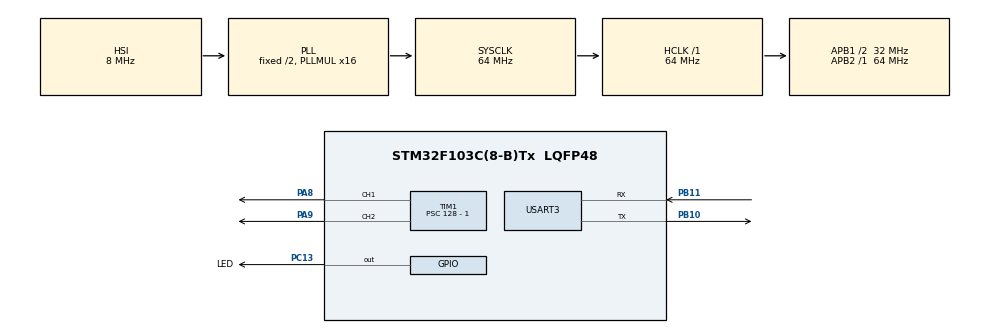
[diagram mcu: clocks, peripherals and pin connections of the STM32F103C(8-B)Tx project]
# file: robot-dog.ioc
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FREERTOS.Tasks01=defaultTask,24,128,StartDefaultTask,Default,NULL,Dynamic,NULL,NULL;myTask02,8,128,StartTask02,Default,NULL,Dynamic,NULL,NULL
Mcu.Family=STM32F1
Mcu.Name=STM32F103C(8-B)Tx
Mcu.Package=LQFP48
NVIC.PriorityGroup=NVIC_PRIORITYGROUP_4
NVIC.TIM1_UP_IRQn=true\:5\:0\:false\:false\:true\:true\:true\:true\:true
NVIC.TIM4_IRQn=true\:15\:0\:false\:false\:true\:false\:false\:true\:true
NVIC.TimeBase=TIM4_IRQn
NVIC.TimeBaseIP=TIM4
NVIC.USART3_IRQn=true\:5\:0\:false\:false\:true\:true\:true\:true\:true
PA13.Mode=Serial_Wire
PA13.Signal=SYS_JTMS-SWDIO
PA14.Mode=Serial_Wire
PA14.Signal=SYS_JTCK-SWCLK
PA8.Signal=S_TIM1_CH1
PA9.Signal=S_TIM1_CH2
PB10.Mode=Asynchronous
PB10.Signal=USART3_TX
PB11.Mode=Asynchronous
PB11.Signal=USART3_RX
PC13-TAMPER-RTC.GPIO_Label=LED
PC13-TAMPER-RTC.PinState=GPIO_PIN_SET
PC13-TAMPER-RTC.Signal=GPIO_Output
ProjectManager.HeapSize=0x200
ProjectManager.StackSize=0x400
ProjectManager.TargetToolchain=STM32CubeIDE
RCC.AHBFreq_Value=64000000
RCC.APB1CLKDivider=RCC_HCLK_DIV2
RCC.APB1Freq_Value=32000000
RCC.APB1TimFreq_Value=64000000
RCC.APB2Freq_Value=64000000
RCC.APB2TimFreq_Value=64000000
RCC.HCLKFreq_Value=64000000
RCC.PLLMUL=RCC_PLL_MUL16
RCC.SYSCLKFreq_VALUE=64000000
RCC.SYSCLKSource=RCC_SYSCLKSOURCE_PLLCLK
RCC.USBFreq_Value=64000000
SH.S_TIM1_CH1.0=TIM1_CH1,PWM Generation1 CH1
SH.S_TIM1_CH2.0=TIM1_CH2,PWM Generation2 CH2
TIM1.Channel-PWM\ Generation1\ CH1=TIM_CHANNEL_1
TIM1.Channel-PWM\ Generation2\ CH2=TIM_CHANNEL_2
TIM1.OCMode_PWM-PWM\ Generation2\ CH2=TIM_OCMODE_PWM1
TIM1.Period=10000 - 1
TIM1.Prescaler=128 - 1
TIM1.Pulse-PWM\ Generation1\ CH1=243
TIM1.Pulse-PWM\ Generation2\ CH2=1000
USART3.VirtualMode=VM_ASYNC
VP_FREERTOS_VS_CMSIS_V2.Mode=CMSIS_V2
VP_SYS_VS_tim4.Mode=TIM4
VP_TIM1_VS_ClockSourceINT.Mode=Internal
board=custom

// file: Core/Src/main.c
/* USER CODE BEGIN Header */
/**
  ******************************************************************************
  * @file           : main.c
  * @brief          : Main program body
  ******************************************************************************
  * @attention
  *
  * Copyright (c) 2025 STMicroelectronics.
  * All rights reserved.
  *
  * This software is licensed under terms that can be found in the LICENSE file
  * in the root directory of this software component.
  * If no LICENSE file comes with this software, it is provided AS-IS.
  *
  ******************************************************************************
  */
/* USER CODE END Header */
#include "main.h"
#include "cmsis_os.h"

/* USER CODE BEGIN Includes */
#include "joint.h"
#include "uart.h"
/* USER CODE END Includes */

TIM_HandleTypeDef htim1;

UART_HandleTypeDef huart3;

/* Definitions for defaultTask */
osThreadId_t defaultTaskHandle;
const osThreadAttr_t defaultTask_attributes = {
  .name = "defaultTask",
  .stack_size = 128 * 4,
  .priority = (osPriority_t) osPriorityNormal,
};
/* Definitions for myTask02 */
osThreadId_t myTask02Handle;
const osThreadAttr_t myTask02_attributes = {
  .name = "myTask02",
  .stack_size = 128 * 4,
  .priority = (osPriority_t) osPriorityLow,
};
/* USER CODE BEGIN PV */

static Uart* uart;

/* USER CODE END PV */

void SystemClock_Config(void);
static void MX_GPIO_Init(void);
static void MX_TIM1_Init(void);
static void MX_USART3_UART_Init(void);
void StartDefaultTask(void *argument);
void StartTask02(void *argument);

int main(void)
{

  /* MCU Configuration--------------------------------------------------------*/

  /* Reset of all peripherals, Initializes the Flash interface and the Systick. */
  HAL_Init();

  /* USER CODE BEGIN Init */

  uart = new_Uart(&huart3);

  /* USER CODE END Init */

  /* Configure the system clock */
  SystemClock_Config();

  /* Initialize all configured peripherals */
  MX_GPIO_Init();
  MX_TIM1_Init();
  MX_USART3_UART_Init();
  /* USER CODE BEGIN 2 */
  HAL_TIM_PWM_Start(&htim1, TIM_CHANNEL_1);
  HAL_TIM_PWM_Start(&htim1, TIM_CHANNEL_2);
  uart->receive(uart);
  /* USER CODE END 2 */

  /* Init scheduler */
  osKernelInitialize();

  /* Create the thread(s) */
  /* creation of defaultTask */
  defaultTaskHandle = osThreadNew(StartDefaultTask, NULL, &defaultTask_attributes);

  /* creation of myTask02 */
  myTask02Handle = osThreadNew(StartTask02, NULL, &myTask02_attributes);

  /* Start scheduler */
  osKernelStart();

  /* We should never get here as control is now taken by the scheduler */

  /* Infinite loop */
  /* USER CODE BEGIN WHILE */

#define TIMEOUT 1000

  while (1)
  {
//	  joint_1->set_angle(joint_1, 0);
//	  HAL_Delay(TIMEOUT);
//	  joint_1->set_angle(joint_1, 20);
//	  HAL_Delay(TIMEOUT);
//
//
//	  joint_2->set_angle2(joint_2, 0);
//	  HAL_Delay(TIMEOUT);
//	  joint_2->set_angle2(joint_2, 20);
//	  HAL_Delay(TIMEOUT);
//	  joint->set_angle(joint, 90);
//	  HAL_Delay(1000);
//	  joint->set_angle(joint, 135);
//	  HAL_Delay(1000);
//	  joint->set_angle(joint, 180);
//	  HAL_Delay(1000);
//
//	  uart->transmit(uart);
//	  HAL_Delay(1000);

    /* USER CODE END WHILE */

  }
}

void SystemClock_Config(void)
{
  RCC_OscInitTypeDef RCC_OscInitStruct = {0};
  RCC_ClkInitTypeDef RCC_ClkInitStruct = {0};

  /** Initializes the RCC Oscillators according to the specified parameters
  * in the RCC_OscInitTypeDef structure.
  */
  RCC_OscInitStruct.OscillatorType = RCC_OSCILLATORTYPE_HSI;
  RCC_OscInitStruct.HSIState = RCC_HSI_ON;
  RCC_OscInitStruct.HSICalibrationValue = RCC_HSICALIBRATION_DEFAULT;
  RCC_OscInitStruct.PLL.PLLState = RCC_PLL_ON;
  RCC_OscInitStruct.PLL.PLLSource = RCC_PLLSOURCE_HSI_DIV2;
  RCC_OscInitStruct.PLL.PLLMUL = RCC_PLL_MUL16;
  if (HAL_RCC_OscConfig(&RCC_OscInitStruct) != HAL_OK)
  {
    Error_Handler();
  }

  /** Initializes the CPU, AHB and APB buses clocks
  */
  RCC_ClkInitStruct.ClockType = RCC_CLOCKTYPE_HCLK|RCC_CLOCKTYPE_SYSCLK
                              |RCC_CLOCKTYPE_PCLK1|RCC_CLOCKTYPE_PCLK2;
  RCC_ClkInitStruct.SYSCLKSource = RCC_SYSCLKSOURCE_PLLCLK;
  RCC_ClkInitStruct.AHBCLKDivider = RCC_SYSCLK_DIV1;
  RCC_ClkInitStruct.APB1CLKDivider = RCC_HCLK_DIV2;
  RCC_ClkInitStruct.APB2CLKDivider = RCC_HCLK_DIV1;

  if (HAL_RCC_ClockConfig(&RCC_ClkInitStruct, FLASH_LATENCY_2) != HAL_OK)
  {
    Error_Handler();
  }
}

static void MX_TIM1_Init(void)
{

  TIM_ClockConfigTypeDef sClockSourceConfig = {0};
  TIM_MasterConfigTypeDef sMasterConfig = {0};
  TIM_OC_InitTypeDef sConfigOC = {0};
  TIM_BreakDeadTimeConfigTypeDef sBreakDeadTimeConfig = {0};

  htim1.Instance = TIM1;
  htim1.Init.Prescaler = 128 - 1;
  htim1.Init.CounterMode = TIM_COUNTERMODE_UP;
  htim1.Init.Period = 10000 - 1;
  htim1.Init.ClockDivision = TIM_CLOCKDIVISION_DIV1;
  htim1.Init.RepetitionCounter = 0;
  htim1.Init.AutoReloadPreload = TIM_AUTORELOAD_PRELOAD_DISABLE;
  if (HAL_TIM_Base_Init(&htim1) != HAL_OK)
  {
    Error_Handler();
  }
  sClockSourceConfig.ClockSource = TIM_CLOCKSOURCE_INTERNAL;
  if (HAL_TIM_ConfigClockSource(&htim1, &sClockSourceConfig) != HAL_OK)
  {
    Error_Handler();
  }
  if (HAL_TIM_PWM_Init(&htim1) != HAL_OK)
  {
    Error_Handler();
  }
  sMasterConfig.MasterOutputTrigger = TIM_TRGO_RESET;
  sMasterConfig.MasterSlaveMode = TIM_MASTERSLAVEMODE_DISABLE;
  if (HAL_TIMEx_MasterConfigSynchronization(&htim1, &sMasterConfig) != HAL_OK)
  {
    Error_Handler();
  }
  sConfigOC.OCMode = TIM_OCMODE_PWM1;
  sConfigOC.Pulse = 243;
  sConfigOC.OCPolarity = TIM_OCPOLARITY_HIGH;
  sConfigOC.OCNPolarity = TIM_OCNPOLARITY_HIGH;
  sConfigOC.OCFastMode = TIM_OCFAST_DISABLE;
  sConfigOC.OCIdleState = TIM_OCIDLESTATE_RESET;
  sConfigOC.OCNIdleState = TIM_OCNIDLESTATE_RESET;
  if (HAL_TIM_PWM_ConfigChannel(&htim1, &sConfigOC, TIM_CHANNEL_1) != HAL_OK)
  {
    Error_Handler();
  }
  sConfigOC.Pulse = 1000;
  if (HAL_TIM_PWM_ConfigChannel(&htim1, &sConfigOC, TIM_CHANNEL_2) != HAL_OK)
  {
    Error_Handler();
  }
  sBreakDeadTimeConfig.OffStateRunMode = TIM_OSSR_DISABLE;
  sBreakDeadTimeConfig.OffStateIDLEMode = TIM_OSSI_DISABLE;
  sBreakDeadTimeConfig.LockLevel = TIM_LOCKLEVEL_OFF;
  sBreakDeadTimeConfig.DeadTime = 0;
  sBreakDeadTimeConfig.BreakState = TIM_BREAK_DISABLE;
  sBreakDeadTimeConfig.BreakPolarity = TIM_BREAKPOLARITY_HIGH;
  sBreakDeadTimeConfig.AutomaticOutput = TIM_AUTOMATICOUTPUT_DISABLE;
  if (HAL_TIMEx_ConfigBreakDeadTime(&htim1, &sBreakDeadTimeConfig) != HAL_OK)
  {
    Error_Handler();
  }
  HAL_TIM_MspPostInit(&htim1);

}

static void MX_USART3_UART_Init(void)
{

  huart3.Instance = USART3;
  huart3.Init.BaudRate = 115200;
  huart3.Init.WordLength = UART_WORDLENGTH_8B;
  huart3.Init.StopBits = UART_STOPBITS_1;
  huart3.Init.Parity = UART_PARITY_NONE;
  huart3.Init.Mode = UART_MODE_TX_RX;
  huart3.Init.HwFlowCtl = UART_HWCONTROL_NONE;
  huart3.Init.OverSampling = UART_OVERSAMPLING_16;
  if (HAL_UART_Init(&huart3) != HAL_OK)
  {
    Error_Handler();
  }

}

static void MX_GPIO_Init(void)
{
  GPIO_InitTypeDef GPIO_InitStruct = {0};

  /* GPIO Ports Clock Enable */
  __HAL_RCC_GPIOC_CLK_ENABLE();
  __HAL_RCC_GPIOB_CLK_ENABLE();
  __HAL_RCC_GPIOA_CLK_ENABLE();

  /*Configure GPIO pin Output Level */
  HAL_GPIO_WritePin(LED_GPIO_Port, LED_Pin, GPIO_PIN_SET);

  /*Configure GPIO pin : LED_Pin */
  GPIO_InitStruct.Pin = LED_Pin;
  GPIO_InitStruct.Mode = GPIO_MODE_OUTPUT_PP;
  GPIO_InitStruct.Pull = GPIO_NOPULL;
  GPIO_InitStruct.Speed = GPIO_SPEED_FREQ_LOW;
  HAL_GPIO_Init(LED_GPIO_Port, &GPIO_InitStruct);

}

/* USER CODE BEGIN 4 */

//void HAL_TIM_PeriodElapsedCallback(TIM_HandleTypeDef *htim)
//{
//	if (htim->Instance == TIM1)
//	{
////		HAL_GPIO_TogglePin(LED_GPIO_Port, LED_Pin);
//	}
//}

void HAL_UARTEx_RxEventCallback(UART_HandleTypeDef *huart, uint16_t Size)
{
	if (huart->Instance == USART3)
	{
		if (uart->receive(uart))
		{
			HAL_GPIO_TogglePin(LED_GPIO_Port, LED_Pin);
		}
	}
}

/* USER CODE END 4 */

void StartDefaultTask(void *argument)
{
  /* USER CODE BEGIN 5 */

	Joint* thigh = new_Joint(new_PWM(&htim1, TIM_CHANNEL_2, 280, 1250)); // PA8

  /* Infinite loop */
  for(;;)
  {

	  thigh->set_angle(thigh, 135);
	  osDelay(1000);

	  thigh->set_angle(thigh, 90);
		osDelay(1000);

  }
  /* USER CODE END 5 */
}

void StartTask02(void *argument)
{
  /* USER CODE BEGIN StartTask02 */
	Joint* knee = new_Joint(new_PWM(&htim1, TIM_CHANNEL_1, 280, 1250)); // PA9
  /* Infinite loop */
  for(;;)
  {
	  knee->set_angle(knee, 0);
	  osDelay(1000);
	  knee->set_angle(knee, 20);
	 	  osDelay(1000);

  }
  /* USER CODE END StartTask02 */
}

void HAL_TIM_PeriodElapsedCallback(TIM_HandleTypeDef *htim)
{
  if (htim->Instance == TIM4)
  {
    HAL_IncTick();
  }
}

void Error_Handler(void)
{
  __disable_irq();
  while (1)
  {
  }
}
